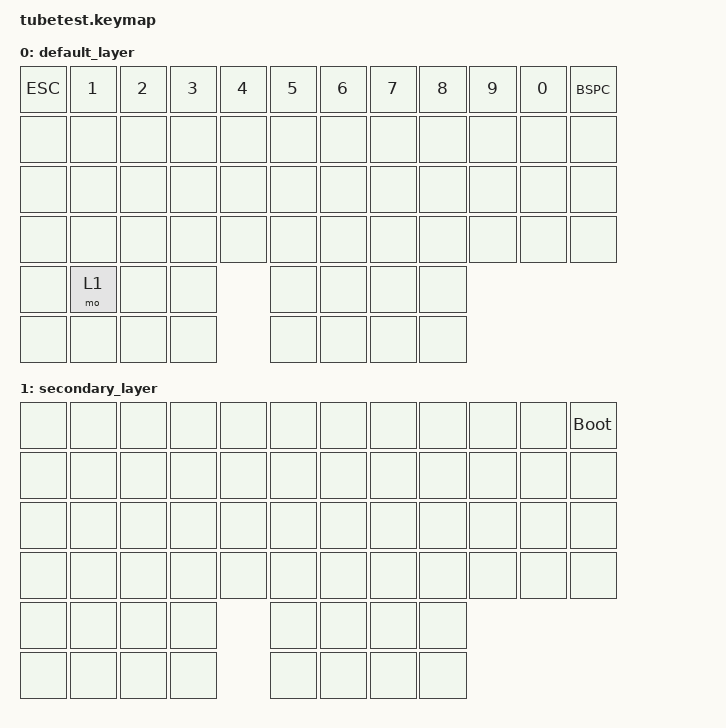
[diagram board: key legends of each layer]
#include <behaviors.dtsi>
#include <dt-bindings/zmk/keys.h>
#include <dt-bindings/zmk/outputs.h>

/ {
 keymap {
	compatible = "zmk,keymap";

	default_layer {
	 bindings = <
	 &ESC &kp N1 &kp N2 &kp N3 &kp N4 &kp N5 &kp N6 &kp N7 &kp N8 &kp N9 &kp N0 &BSPC
	&none &none &none &none  &none &none	&none &none &none &none  &none  &none
	&none &none &none &none  &none &none 	&none &none &none &none  &none  &none
	&none &none &none &none  &none &none 	&none &none &none &none  &none  &none
	&none &mo 1 &none &none &none 			&none &none &none
	&none &none &none &none &none 			&none &none &none
	 >;
	};

	secondary_layer {
	 bindings = <
	&none &none &none &none  &none &none 	&none &none &none &none  &none  &bootloader
	&none &none &none &none  &none &none	&none &none &none &none  &none  &none
	&none &none &none &none  &none &none 	&none &none &none &none  &none  &none
	&none &none &none &none  &none &none 	&none &none &none &none  &none  &none
	&none &none &none &none &none 			&none &none &none
	&none &none &none &none &none 			&none &none &none
	 >;
	};

};
};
